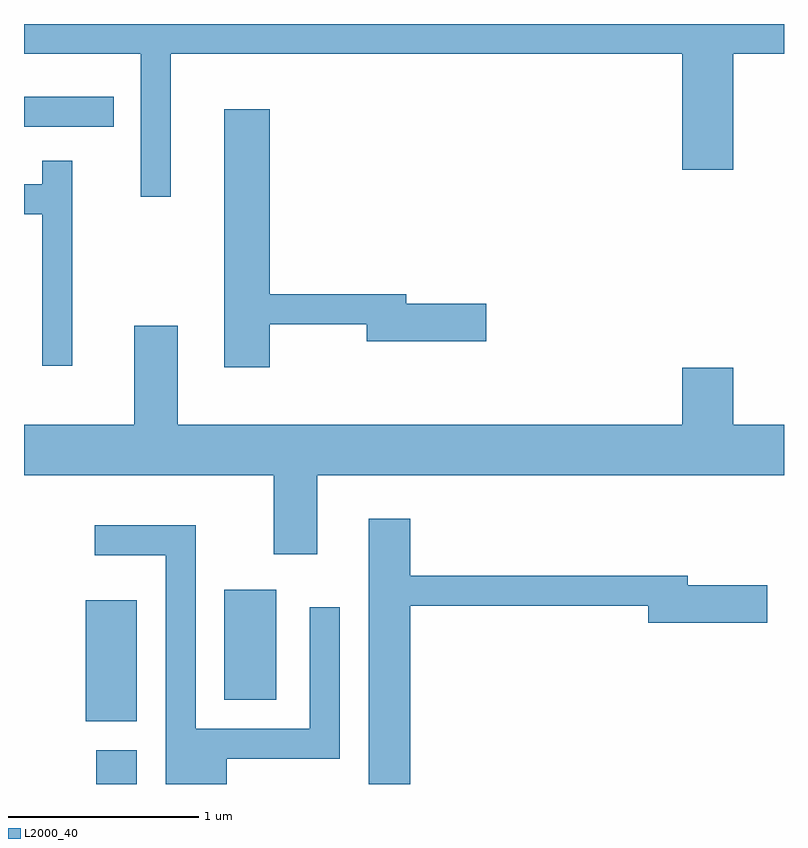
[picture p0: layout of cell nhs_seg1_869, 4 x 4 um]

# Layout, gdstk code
import gdstk
lib = gdstk.Library(unit=1e-6, precision=1e-09)
def R(c, l, rs):  # rectangles x0, y0, x1, y1
    for r in rs: c.add(gdstk.rectangle(r[:2], r[2:], *l))
def P(c, l, *ps):  # polygons
    for p in ps: c.add(gdstk.Polygon(p, *l))
L2000_40 = (2000, 40)

nhs_seg1_869 = lib.new_cell('nhs_seg1_869')
R(nhs_seg1_869, L2000_40, [(211.991,915.712,212.204,915.889), (211.936,916.041,212.204,916.679), (212.666,916.156,212.939,916.734), (211.611,919.171,212.083,919.329)])
P(nhs_seg1_869, L2000_40, [(212.384,919.556),(215.076,919.556),(215.076,918.946),(215.344,918.946),(215.344,919.556),(215.611,919.556),(215.611,919.712),(211.611,919.712),(211.611,919.556),(212.226,919.556),(212.226,918.803),(212.384,918.803)],
  [(212.904,918.131),(213.416,918.131),(213.416,918.041),(214.044,918.041),(214.044,918.239),(213.624,918.239),(213.624,918.289),(212.904,918.289),(212.904,919.264),(212.666,919.264),(212.666,917.906),(212.904,917.906)],
  [(211.864,918.993),(211.706,918.993),(211.706,918.869),(211.611,918.869),(211.611,918.711),(211.706,918.711),(211.706,917.913),(211.864,917.913)],
  [(213.154,917.336),(215.611,917.336),(215.611,917.604),(215.344,917.604),(215.344,917.904),(215.076,917.904),(215.076,917.604),(212.419,917.604),(212.419,918.124),(212.191,918.124),(212.191,917.604),(211.611,917.604),(211.611,917.336),(212.926,917.336),(212.926,916.921),(213.154,916.921)],
  [(213.644,916.651),(214.896,916.651),(214.896,916.561),(215.524,916.561),(215.524,916.759),(215.104,916.759),(215.104,916.809),(213.644,916.809),(213.644,917.109),(213.426,917.109),(213.426,915.712),(213.644,915.712)],
  [(212.679,915.846),(213.274,915.846),(213.274,916.643),(213.116,916.643),(213.116,916.004),(212.514,916.004),(212.514,917.074),(211.983,917.074),(211.983,916.916),(212.356,916.916),(212.356,915.712),(212.679,915.712)])

lib.write_gds('nhs_seg1_869.gds')
